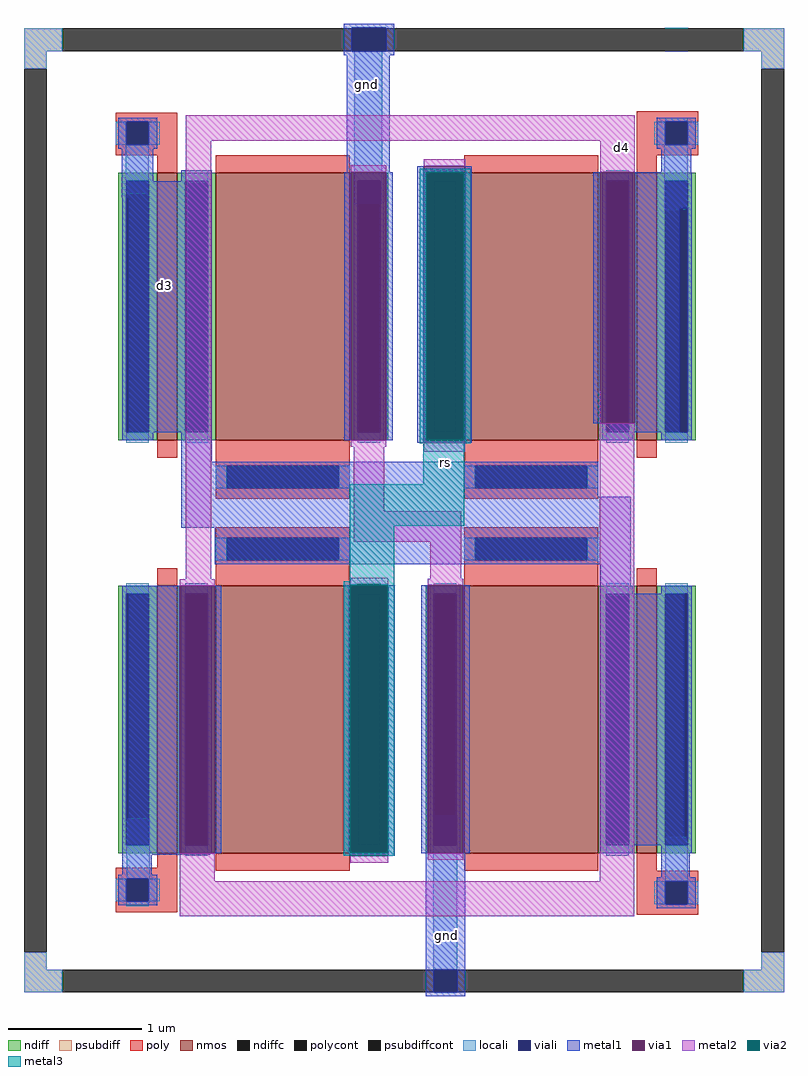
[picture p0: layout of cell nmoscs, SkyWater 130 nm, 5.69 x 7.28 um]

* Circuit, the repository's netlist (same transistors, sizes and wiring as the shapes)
* NGSPICE file created from nmoscs.ext - technology: sky130A

.subckt sky130_fd_pr__nfet_01v8_Q6296P a_n286_n257# a_n86_n231# a_28_n231# a_n344_n231#
+ a_86_n257# a_286_n231# VSUBS
X0 a_n86_n231# a_n286_n257# a_n344_n231# VSUBS sky130_fd_pr__nfet_01v8 ad=0.58 pd=4.58 as=0.58 ps=4.58 w=2 l=1
X1 a_286_n231# a_86_n257# a_28_n231# VSUBS sky130_fd_pr__nfet_01v8 ad=0.58 pd=4.58 as=0.58 ps=4.58 w=2 l=1
.ends

.subckt sky130_fd_pr__nfet_01v8_4HFSKE a_15_n200# a_n15_n226# a_n73_n200# VSUBS
X0 a_15_n200# a_n15_n226# a_n73_n200# VSUBS sky130_fd_pr__nfet_01v8 ad=0.58 pd=4.58 as=0.58 ps=4.58 w=2 l=0.15
.ends

.subckt sky130_fd_pr__nfet_01v8_TC9PLT a_15_n200# a_n15_n226# a_n73_n200# VSUBS
X0 a_15_n200# a_n15_n226# a_n73_n200# VSUBS sky130_fd_pr__nfet_01v8 ad=0.58 pd=4.58 as=0.58 ps=4.58 w=2 l=0.15
.ends

.subckt sky130_fd_pr__nfet_01v8_27FZYL a_n286_n257# a_286_n169# a_n86_n169# a_86_n257#
+ a_28_n169# a_n344_n169# VSUBS
X0 a_286_n169# a_86_n257# a_28_n169# VSUBS sky130_fd_pr__nfet_01v8 ad=0.58 pd=4.58 as=0.58 ps=4.58 w=2 l=1
X1 a_n86_n169# a_n286_n257# a_n344_n169# VSUBS sky130_fd_pr__nfet_01v8 ad=0.58 pd=4.58 as=0.58 ps=4.58 w=2 l=1
.ends

.subckt nmoscs d3 rs d4 gnd
Xsky130_fd_pr__nfet_01v8_Q6296P_0 d3 rs gnd d4 d3 d3 gnd sky130_fd_pr__nfet_01v8_Q6296P
Xsky130_fd_pr__nfet_01v8_4HFSKE_0 d3 d3 d3 gnd sky130_fd_pr__nfet_01v8_4HFSKE
Xsky130_fd_pr__nfet_01v8_TC9PLT_0 d4 d4 d4 gnd sky130_fd_pr__nfet_01v8_TC9PLT
Xsky130_fd_pr__nfet_01v8_TC9PLT_1 d4 d4 d4 gnd sky130_fd_pr__nfet_01v8_TC9PLT
Xsky130_fd_pr__nfet_01v8_27FZYL_0 d3 d4 gnd d3 rs d3 gnd sky130_fd_pr__nfet_01v8_27FZYL
Xsky130_fd_pr__nfet_01v8_TC9PLT_2 d3 d3 d3 gnd sky130_fd_pr__nfet_01v8_TC9PLT
.ends

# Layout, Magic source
magic
tech sky130A
magscale 1 2
<< psubdiff >>
rect -229 670 -172 704
rect 848 670 908 704
rect -229 644 -195 670
rect 874 644 908 670
rect -229 -704 -195 -678
rect 874 -704 908 -678
rect -229 -738 -172 -704
rect 848 -738 908 -704
<< psubdiffcont >>
rect -172 670 848 704
rect -229 -678 -195 644
rect 874 -678 908 644
rect -172 -738 848 -704
<< poly >>
rect -92 564 0 578
rect -92 530 -76 564
rect -42 530 0 564
rect -92 514 0 530
rect 688 564 780 580
rect 688 530 730 564
rect 764 530 780 564
rect 688 514 780 530
rect -26 513 0 514
rect -92 -568 0 -552
rect -92 -602 -76 -568
rect -42 -602 0 -568
rect -92 -618 0 -602
rect 688 -572 780 -556
rect 688 -606 730 -572
rect 764 -606 780 -572
rect 688 -622 780 -606
<< polycont >>
rect -76 530 -42 564
rect 730 530 764 564
rect -76 -602 -42 -568
rect 730 -606 764 -572
<< locali >>
rect 730 704 764 705
rect -229 670 -172 704
rect 848 670 908 704
rect -229 644 -195 670
rect -92 530 -76 564
rect -42 530 -26 564
rect -77 457 -42 530
rect 265 442 307 670
rect 730 669 764 670
rect 874 644 908 670
rect 730 564 764 570
rect 714 530 730 564
rect 764 530 780 564
rect 729 432 764 530
rect -75 -568 -41 -478
rect -92 -602 -76 -568
rect -42 -602 -26 -568
rect -76 -603 -41 -602
rect -76 -609 -42 -603
rect -229 -704 -195 -678
rect 383 -704 419 -473
rect 730 -572 764 -505
rect 714 -606 730 -572
rect 764 -606 780 -572
rect 874 -704 908 -678
rect -229 -738 -172 -704
rect 848 -738 908 -704
<< viali >>
rect 261 704 313 705
rect 261 670 313 704
rect -76 530 -42 564
rect 730 530 764 564
rect -76 -602 -42 -568
rect 730 -606 764 -572
rect 384 -738 419 -704
<< metal1 >>
rect 249 705 325 711
rect 249 670 261 705
rect 313 670 325 705
rect 249 664 325 670
rect -88 564 -30 570
rect -88 530 -76 564
rect -42 530 -30 564
rect -88 524 -30 530
rect -83 475 -36 524
rect 6 475 52 492
rect 254 489 318 664
rect 718 564 776 570
rect 718 530 730 564
rect 764 530 776 564
rect 718 524 776 530
rect -83 451 52 475
rect -72 100 52 451
rect 6 56 52 100
rect 250 88 260 489
rect 313 88 323 489
rect 359 84 369 498
rect 431 84 441 498
rect 724 489 769 524
rect 623 113 633 489
rect 685 435 769 489
rect 685 113 752 435
rect 647 100 752 113
rect 6 3 630 56
rect 6 -43 679 3
rect 56 -98 679 -43
rect -72 -478 4 -130
rect -82 -530 4 -478
rect 56 -530 66 -130
rect -82 -532 50 -530
rect -82 -562 -38 -532
rect 249 -534 259 -129
rect 316 -534 326 -129
rect 365 -530 375 -129
rect 428 -530 438 -129
rect 633 -142 679 -98
rect 633 -505 759 -142
rect 633 -518 767 -505
rect 633 -530 679 -518
rect -88 -568 -30 -562
rect -88 -602 -76 -568
rect -42 -602 -30 -568
rect -88 -608 -30 -602
rect 372 -704 431 -530
rect 724 -566 767 -518
rect 718 -572 776 -566
rect 718 -606 730 -572
rect 764 -606 776 -572
rect 718 -612 776 -606
rect 372 -738 384 -704
rect 419 -738 431 -704
rect 372 -744 431 -738
<< via1 >>
rect 260 88 313 489
rect 369 84 431 498
rect 633 113 685 489
rect 4 -530 56 -130
rect 259 -534 316 -129
rect 375 -530 428 -129
<< metal2 >>
rect 13 536 685 574
rect 13 -120 51 536
rect 260 489 313 499
rect 260 78 313 88
rect 369 498 431 508
rect 633 489 685 536
rect 264 -18 310 78
rect 369 71 431 84
rect 632 113 633 162
rect 632 103 685 113
rect 264 -64 425 -18
rect 259 -119 315 -118
rect 379 -119 425 -64
rect 4 -130 56 -120
rect 4 -572 56 -530
rect 259 -128 316 -119
rect 315 -129 316 -128
rect 259 -544 316 -534
rect 375 -129 428 -119
rect 375 -540 428 -530
rect 632 -572 684 103
rect 4 -624 684 -572
<< via2 >>
rect 373 88 429 489
rect 259 -129 315 -128
rect 259 -529 315 -129
<< metal3 >>
rect 363 489 439 494
rect 363 88 373 489
rect 429 88 439 489
rect 363 83 439 88
rect 368 22 430 83
rect 258 -40 430 22
rect 258 -123 325 -40
rect 249 -128 325 -123
rect 249 -529 259 -128
rect 315 -529 325 -128
rect 249 -534 325 -529
use sky130_fd_pr__nfet_01v8_4HFSKE  sky130_fd_pr__nfet_01v8_4HFSKE_0
transform 1 0 -15 0 1 288
box -73 -226 73 226
use sky130_fd_pr__nfet_01v8_27FZYL  sky130_fd_pr__nfet_01v8_27FZYL_0
transform 1 0 344 0 1 257
box -344 -257 344 257
use sky130_fd_pr__nfet_01v8_Q6296P  sky130_fd_pr__nfet_01v8_Q6296P_0
transform 1 0 344 0 1 -299
box -344 -257 344 257
use sky130_fd_pr__nfet_01v8_TC9PLT  sky130_fd_pr__nfet_01v8_TC9PLT_0
transform 1 0 -15 0 1 -330
box -73 -226 73 226
use sky130_fd_pr__nfet_01v8_TC9PLT  sky130_fd_pr__nfet_01v8_TC9PLT_1
transform 1 0 703 0 1 288
box -73 -226 73 226
use sky130_fd_pr__nfet_01v8_TC9PLT  sky130_fd_pr__nfet_01v8_TC9PLT_2
transform 1 0 703 0 1 -330
box -73 -226 73 226
<< labels >>
flabel metal1 -20 319 -17 319 0 FreeSans 160 0 0 0 d3
port 1 nsew
flabel metal3 400 54 403 54 0 FreeSans 160 0 0 0 rs
port 2 nsew
flabel metal2 664 526 667 526 0 FreeSans 160 0 0 0 d4
port 3 nsew
flabel metal1 284 620 284 620 0 FreeSans 160 0 0 0 gnd
port 4 nsew
flabel metal1 403 -653 403 -653 0 FreeSans 160 0 0 0 gnd
port 5 nsew
<< end >>

# cell sky130_fd_pr__nfet_01v8_4HFSKE: kit device sky130_fd_pr__nfet_01v8, w 2 l 0.15 m 1 nf 1 diffcov 100 polycov 100 guard 0 glc 1 grc 1 gtc 1 gbc 1 tbcov 100 rlcov 100 topc 0 botc 0 poverlap 0 doverlap 1 lmin 0.15 wmin 0.42 compatible {sky130_fd_pr__nfet_01v8 sky130_fd_pr__nfet_01v8_lvt sky130_fd_bs_flash__special_sonosfet_star sky130_fd_pr__nfet_g5v0d10v5 sky130_fd_pr__nfet_05v0_nvt sky130_fd_pr__nfet_03v3_nvt} full_metal 1 viasrc 100 viadrn 100 viagate 100 viagb 0 viagr 0 viagl 0 viagt 0

# cell sky130_fd_pr__nfet_01v8_27FZYL: kit device sky130_fd_pr__nfet_01v8, w 2 l 1 m 1 nf 2 diffcov 100 polycov 100 guard 0 glc 1 grc 1 gtc 1 gbc 1 tbcov 100 rlcov 100 topc 0 botc 1 poverlap 0 doverlap 0 lmin 0.15 wmin 0.42 compatible {sky130_fd_pr__nfet_01v8 sky130_fd_pr__nfet_01v8_lvt sky130_fd_bs_flash__special_sonosfet_star sky130_fd_pr__nfet_g5v0d10v5 sky130_fd_pr__nfet_05v0_nvt sky130_fd_pr__nfet_03v3_nvt} full_metal 1 viasrc 100 viadrn 100 viagate 100 viagb 0 viagr 0 viagl 0 viagt 0

# cell sky130_fd_pr__nfet_01v8_Q6296P: kit device sky130_fd_pr__nfet_01v8, w 2 l 1 m 1 nf 2 diffcov 100 polycov 100 guard 0 glc 1 grc 1 gtc 1 gbc 1 tbcov 100 rlcov 100 topc 1 botc 0 poverlap 0 doverlap 0 lmin 0.15 wmin 0.42 compatible {sky130_fd_pr__nfet_01v8 sky130_fd_pr__nfet_01v8_lvt sky130_fd_bs_flash__special_sonosfet_star sky130_fd_pr__nfet_g5v0d10v5 sky130_fd_pr__nfet_05v0_nvt sky130_fd_pr__nfet_03v3_nvt} full_metal 1 viasrc 100 viadrn 100 viagate 100 viagb 0 viagr 0 viagl 0 viagt 0

# cell sky130_fd_pr__nfet_01v8_TC9PLT: kit device sky130_fd_pr__nfet_01v8, w 2 l 0.150 m 1 nf 1 diffcov 100 polycov 100 guard 0 glc 1 grc 1 gtc 1 gbc 1 tbcov 100 rlcov 100 topc 0 botc 0 poverlap 0 doverlap 1 lmin 0.15 wmin 0.42 compatible {sky130_fd_pr__nfet_01v8 sky130_fd_pr__nfet_01v8_lvt sky130_fd_bs_flash__special_sonosfet_star sky130_fd_pr__nfet_g5v0d10v5 sky130_fd_pr__nfet_05v0_nvt sky130_fd_pr__nfet_03v3_nvt} full_metal 1 viasrc 100 viadrn 100 viagate 100 viagb 0 viagr 0 viagl 0 viagt 0
